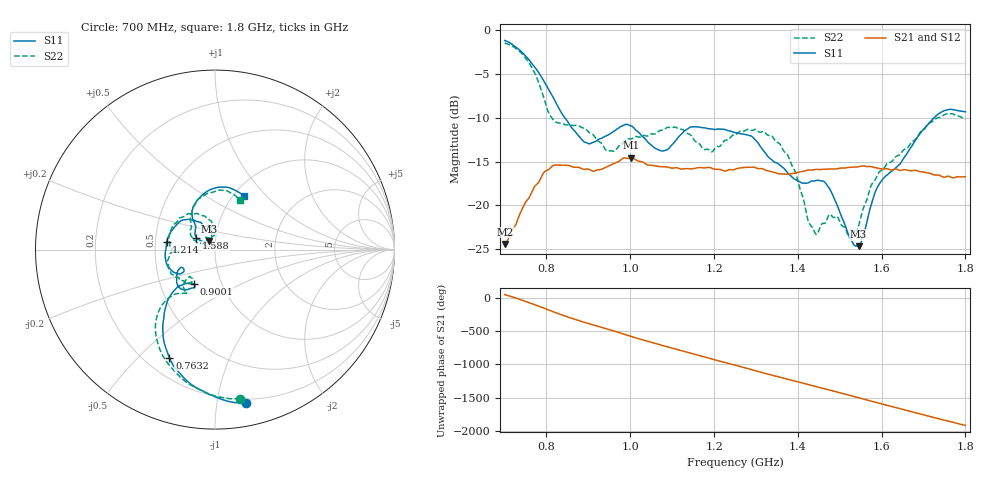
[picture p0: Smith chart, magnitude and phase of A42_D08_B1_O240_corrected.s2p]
! Created with skrf 1.9.0 (http://scikit-rf.org).
# Hz S RI R 50.0
!freq ReS11 ImS11 ReS21 ImS21 ReS12 ImS12 ReS22 ImS22
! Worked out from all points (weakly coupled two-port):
!   1601 points, 700 MHz to 1.8 GHz, reference 50 ohm
!   highest |S21| = -14.53 dB at 1.002 GHz (marker M1); lowest = -24.4 dB at 701.4 MHz (marker M2)
!   lowest |S11| = -24.6 dB at 1.545 GHz (marker M3), VSWR 1.12, Z = 46.6 + j4.53 ohm
!   |S11| at or under -10 dB: 843.8 MHz to 1.725 GHz (881.3 MHz wide, 68.6 % of centre)
!   |S22| runs from -23.7 to -1.5 dB; largest |S21 - S12| = 0.0036
!   S11 on the Smith chart (normalised r, x): 700 MHz: 0.17, -1.21; 763.2 MHz: 0.30, -0.62; 900.1 MHz: 0.74, -0.30; 1.214 GHz: 0.57, +0.05; 1.588 GHz: 0.80, +0.11; 1.8 GHz: 1.12, +0.76
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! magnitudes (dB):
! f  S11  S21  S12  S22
! 700 MHz  -1.2  -24.4  -24.2  -1.5
! 701.4 MHz  -1.2  -24.4  -24.0  -1.5
! 763.2 MHz  -3.7  -18.6  -18.7  -4.1
! 814.1 MHz  -7.5  -15.5  -15.5  -10.1
! 883.6 MHz  -12.4  -15.8  -15.7  -11.1
! 900.1 MHz  -12.9  -15.9  -15.9  -11.6
! 946.8 MHz  -12.0  -15.5  -15.5  -13.8
! 1.002 GHz  -10.9  -14.5  -14.6  -12.4
! 1.067 GHz  -13.6  -15.5  -15.5  -11.5
! 1.144 GHz  -11.0  -15.8  -15.8  -12.0
! 1.214 GHz  -11.3  -15.9  -15.9  -13.2
! 1.25 GHz  -11.7  -15.9  -15.8  -11.9
! 1.357 GHz  -15.4  -16.4  -16.3  -13.0
! 1.394 GHz  -17.0  -16.3  -16.3  -16.1
! 1.434 GHz  -17.2  -16.0  -15.9  -22.5
! 1.471 GHz  -17.7  -15.9  -15.8  -21.4
! 1.524 GHz  -23.7  -15.6  -15.6  -23.7
! 1.545 GHz  -24.6  -15.6  -15.5  -22.3
! 1.588 GHz  -18.1  -15.7  -15.7  -16.8
! 1.617 GHz  -16.3  -15.9  -15.8  -15.1
! 1.733 GHz  -9.6  -16.5  -16.6  -10.0
! 1.8 GHz  -9.3  -16.7  -16.7  -10.1
